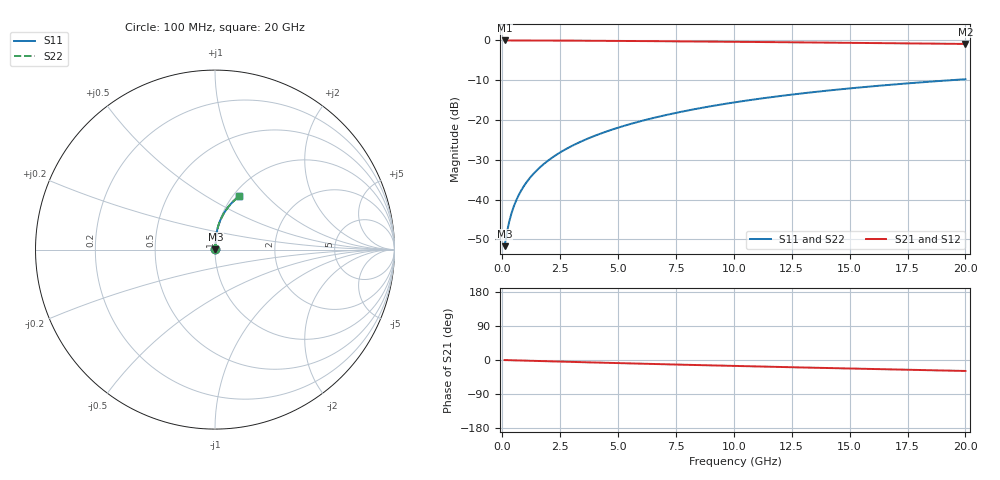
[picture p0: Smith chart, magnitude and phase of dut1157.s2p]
! Touchstone file exported from HFSS 2024.1.0
!  File:  C:/UserFiles/LocalFiles/RDL_TSV_Batchsim/temp_RDL_bottom_1157_1780056270.aedt
!  Generated:  08:07:02 PM May 29, 2026
!  Design:  RDL_bottom
!  Project:  temp_RDL_bottom_1157_1780056270
!  Setup:  Setup1
!  Solution:  Sweep
! Variables:
!  dtsv = 10.80580581um
!  hbump = 3um
!  htsv = 65.4um
!  ldown = 344.37um
!  lrdl = 100um
!  p = 40
!  p1 = 59.5um
!  rhole = 1um
!  t = 450um
!  tdown = 3.26um
!  trdl = 3.915915916um
!  wdown = 20.79um
!  wrdl = 20um
# GHz S MA R 50.000000
! Terminal data exported
! Port[1] = RDL1_T1
! Port[2] = RDL1_T2
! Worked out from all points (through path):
!   200 points, 100 MHz to 20 GHz, reference 50 ohm
!   highest |S21| = -0.02 dB at 100 MHz (marker M1); lowest = -0.9 dB at 20 GHz (marker M2)
!   group delay of S21, straight-line fit = 3.99 ps
!   lowest |S11| = -51.7 dB at 100 MHz (marker M3), VSWR 1.01, Z = 50.2 + j0.166 ohm
!   |S11| at or under -10 dB: start of sweep to 19.36 GHz
!   |S22| runs from -51.7 to -9.8 dB; largest |S21 - S12| = 2.6e-15
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0.1  0.002607 39.4  0.998 -0.2  0.998 -0.2  0.002607 39.4
! Gamma 0 0 0 0
! Port Impedance 50 0 50 0
0.2  0.003883 57.6  0.9979 -0.3  0.9979 -0.3  0.003883 57.6
0.3  0.005321 66.0  0.9978 -0.5  0.9978 -0.5  0.005321 66.0
0.4  0.006796 70.8  0.9977 -0.7  0.9977 -0.7  0.006796 70.8
0.5  0.008284 73.9  0.9976 -0.9  0.9976 -0.9  0.008284 73.9
0.6  0.009779 76.1  0.9975 -1.0  0.9975 -1.0  0.009779 76.1
0.8  0.01279 79.0  0.9972 -1.4  0.9972 -1.4  0.01279 79.0
1.1  0.01735 81.6  0.9969 -1.9  0.9969 -1.9  0.01735 81.6
1.5  0.02351 83.5  0.9962 -2.5  0.9962 -2.5  0.02351 83.5
1.8  0.02818 84.3  0.9957 -3.0  0.9957 -3.0  0.02818 84.3
2.1  0.03288 84.9  0.995 -3.5  0.995 -3.5  0.03288 84.9
2.7  0.0424 85.5  0.9935 -4.5  0.9935 -4.5  0.0424 85.5
3.5  0.05531 85.8  0.9909 -5.8  0.9909 -5.8  0.05531 85.8
4.2  0.06682 85.6  0.9883 -7.0  0.9883 -7.0  0.06682 85.6
5  0.08019 85.2  0.985 -8.2  0.985 -8.2  0.08018 85.2
5.9  0.09545 84.5  0.981 -9.6  0.981 -9.6  0.09545 84.5
6.8  0.1109 83.7  0.9767 -11.0  0.9767 -11.0  0.1109 83.7
8.4  0.1386 81.8  0.9686 -13.3  0.9686 -13.3  0.1385 81.8
10.1  0.1679 79.6  0.9597 -15.8  0.9597 -15.8  0.1679 79.6
13.4  0.2236 74.9  0.9415 -20.3  0.9415 -20.3  0.2235 74.9
16.7  0.2763 70.3  0.9223 -24.7  0.9223 -24.7  0.2763 70.3
20  0.3255 65.8  0.9023 -28.9  0.9023 -28.9  0.3254 65.8
